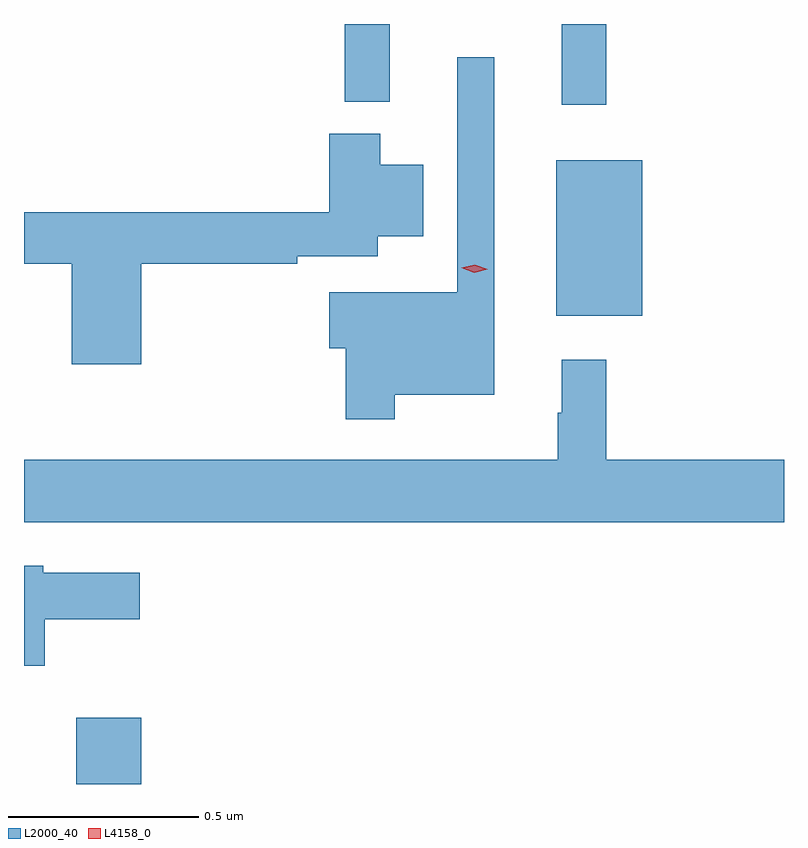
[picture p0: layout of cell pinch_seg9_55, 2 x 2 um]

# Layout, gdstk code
import gdstk
lib = gdstk.Library(unit=1e-6, precision=1e-09)
def R(c, l, rs):  # rectangles x0, y0, x1, y1
    for r in rs: c.add(gdstk.rectangle(r[:2], r[2:], *l))
def P(c, l, *ps):  # polygons
    for p in ps: c.add(gdstk.Polygon(p, *l))
L2000_40 = (2000, 40)
L4158_0 = (4158, 0)

pinch_seg9_55 = lib.new_cell('pinch_seg9_55')
R(pinch_seg9_55, L2000_40, [(913.262,1187.739,913.433,1187.914), (914.525,1188.971,914.752,1189.381), (914.54,1189.527,914.657,1189.739), (913.969,1189.535,914.087,1189.739)])
P(pinch_seg9_55, L2000_40, [(914.101,1188.764),(914.362,1188.764),(914.362,1189.651),(914.265,1189.651),(914.265,1189.033),(913.928,1189.033),(913.928,1188.886),(913.972,1188.886),(913.972,1188.699),(914.101,1188.699)],
  [(913.433,1189.108),(913.844,1189.108),(913.844,1189.128),(914.056,1189.128),(914.056,1189.181),(914.176,1189.181),(914.176,1189.369),(914.062,1189.369),(914.062,1189.45),(913.928,1189.45),(913.928,1189.244),(913.125,1189.244),(913.125,1189.108),(913.25,1189.108),(913.25,1188.843),(913.433,1188.843)],
  [(915.125,1188.592),(914.657,1188.592),(914.657,1188.856),(914.54,1188.856),(914.54,1188.716),(914.529,1188.716),(914.529,1188.592),(913.125,1188.592),(913.125,1188.428),(915.125,1188.428)],
  [(913.18,1188.173),(913.429,1188.173),(913.429,1188.295),(913.176,1188.295),(913.176,1188.313),(913.125,1188.313),(913.125,1188.05),(913.18,1188.05)])
P(pinch_seg9_55, L4158_0, [(914.31,1189.085),(914.275,1189.097),(914.275,1189.097),(914.275,1189.097),(914.311,1189.105),(914.346,1189.094),(914.346,1189.094),(914.346,1189.094)])

lib.write_gds('pinch_seg9_55.gds')
